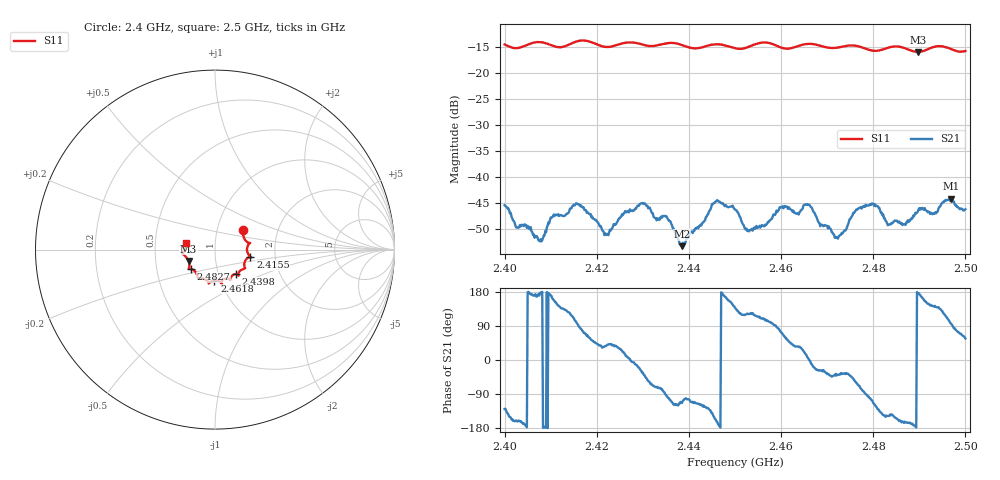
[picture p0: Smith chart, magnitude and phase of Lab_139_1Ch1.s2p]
# Hz S RI R 50
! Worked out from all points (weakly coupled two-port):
!   601 points, 2.4 GHz to 2.5 GHz, reference 50 ohm
!   highest |S21| = -44.17 dB at 2.4968 GHz (marker M1); lowest = -53.3 dB at 2.4385 GHz (marker M2)
!   lowest |S11| = -15.9 dB at 2.4897 GHz (marker M3), VSWR 1.38, Z = 36.9 - j4.84 ohm
!   |S11| at or under -10 dB: start of sweep to end of sweep
!   S12 and S22 are empty: the file has one direction only
!   S11 on the Smith chart (normalised r, x): 2.4 GHz: 1.33, +0.30; 2.4155 GHz: 1.49, -0.12; 2.4398 GHz: 1.21, -0.34; 2.4618 GHz: 0.94, -0.33; 2.4827 GHz: 0.75, -0.17; 2.5 GHz: 0.72, +0.06
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2.4e9  0.1561 0.1068  -0.00339 -0.00417  0 0  0 0
2.407833e9  0.1955 0.0369  -0.00253 7.23e-05  0 0  0 0
2.4105e9  0.1821 0.0207  -0.00396 0.0014  0 0  0 0
2.4155e9  0.1973 -0.04  -0.00106 0.0055  0 0  0 0
2.416667e9  0.202 -0.0432  0.000801 0.00511  0 0  0 0
2.422167e9  0.1666 -0.0659  0.0022 0.00174  0 0  0 0
2.429833e9  0.1547 -0.1095  0.00471 -0.00311  0 0  0 0
2.433333e9  0.1298 -0.1342  0.00116 -0.00373  0 0  0 0
2.4385e9  0.1257 -0.1382  -0.000854 -0.00199  0 0  0 0
2.439833e9  0.115 -0.1358  -0.000623 -0.00261  0 0  0 0
2.445667e9  0.0837 -0.1704  -0.00523 -0.00237  0 0  0 0
2.45e9  0.0649 -0.1615  -0.00364 0.00328  0 0  0 0
2.453167e9  0.0379 -0.1772  -0.00164 0.00261  0 0  0 0
2.461833e9  -0.00335 -0.1731  0.00343 0.00366  0 0  0 0
2.466667e9  -0.0351 -0.1881  0.00499 -0.000975  0 0  0 0
2.472167e9  -0.0723 -0.1607  0.00208 -0.00165  0 0  0 0
2.478167e9  -0.0995 -0.1423  0.000238 -0.00516  0 0  0 0
2.482667e9  -0.1348 -0.1085  -0.0033 -0.0019  0 0  0 0
2.483333e9  -0.14 -0.1081  -0.00294 -0.00187  0 0  0 0
2.489667e9  -0.1471 -0.0639  -0.00464 0.000287  0 0  0 0
2.496833e9  -0.1713 -0.00885  -0.000705 0.00615  0 0  0 0
2.5e9  -0.1593 0.0387  0.00269 0.0041  0 0  0 0
